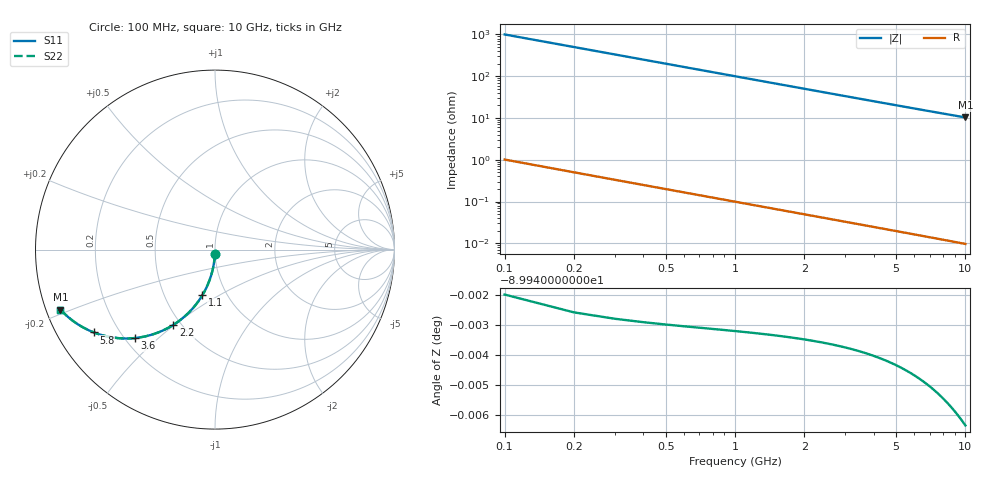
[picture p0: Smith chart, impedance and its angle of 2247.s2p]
# Hz S RI R 50.00
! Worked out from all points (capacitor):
!   100 points, 100 MHz to 10 GHz, reference 50 ohm
!   read as one part in shunt: C = 1.59 pF near 100 MHz
!   lowest |Z| = 10.3 ohm at 10 GHz (marker M1)
!   S11 on the Smith chart (normalised r, x): 100 MHz: 1.00, -0.05; 1.1 GHz: 0.77, -0.42; 2.2 GHz: 0.46, -0.50; 3.6 GHz: 0.24, -0.42; 5.8 GHz: 0.11, -0.31; 10 GHz: 0.04, -0.19
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1e8  -0.000629 -0.0249  0.9993 -0.0251  0.9993 -0.0251  -0.000629 -0.0249
2e8  -0.00252 -0.0497  0.9974 -0.0501  0.9974 -0.0501  -0.00252 -0.0497
3e8  -0.00564 -0.0742  0.9943 -0.0749  0.9943 -0.0749  -0.00564 -0.0742
4e8  -0.00997 -0.0985  0.99 -0.0994  0.99 -0.0994  -0.00997 -0.0985
5e8  -0.0155 -0.1225  0.9845 -0.1236  0.9845 -0.1236  -0.0155 -0.1225
6e8  -0.0221 -0.146  0.9778 -0.1473  0.9778 -0.1473  -0.0221 -0.146
7e8  -0.0298 -0.1689  0.9701 -0.1704  0.9701 -0.1704  -0.0298 -0.1689
9e8  -0.0483 -0.213  0.9517 -0.2149  0.9517 -0.2149  -0.0483 -0.213
1.1e9  -0.0704 -0.2542  0.9295 -0.2566  0.9295 -0.2566  -0.0704 -0.2542
1.4e9  -0.1091 -0.3099  0.8908 -0.3129  0.8908 -0.3129  -0.1091 -0.3099
1.8e9  -0.1682 -0.3716  0.8317 -0.3755  0.8317 -0.3755  -0.1682 -0.3716
2.2e9  -0.2318 -0.4191  0.7682 -0.4239  0.7682 -0.4239  -0.2318 -0.4191
2.8e9  -0.3279 -0.4659  0.672 -0.472  0.672 -0.472  -0.3279 -0.4659
3.4e9  -0.418 -0.489  0.5819 -0.4964  0.5819 -0.4964  -0.418 -0.489
3.6e9  -0.4459 -0.4927  0.554 -0.5005  0.554 -0.5005  -0.4459 -0.4927
4.3e9  -0.5341 -0.4936  0.4658 -0.503  0.4658 -0.503  -0.5341 -0.4936
5.1e9  -0.617 -0.48  0.3829 -0.4912  0.3829 -0.4912  -0.617 -0.48
5.8e9  -0.6755 -0.4613  0.3244 -0.4741  0.3244 -0.4741  -0.6755 -0.4613
6.7e9  -0.7351 -0.4333  0.2647 -0.4482  0.2647 -0.4482  -0.7351 -0.4333
7.5e9  -0.7766 -0.4076  0.2232 -0.4243  0.2232 -0.4243  -0.7766 -0.4076
8.4e9  -0.8135 -0.3795  0.1863 -0.3983  0.1863 -0.3983  -0.8135 -0.3795
1e10  -0.8609 -0.3341  0.1388 -0.3567  0.1388 -0.3567  -0.8609 -0.3341
